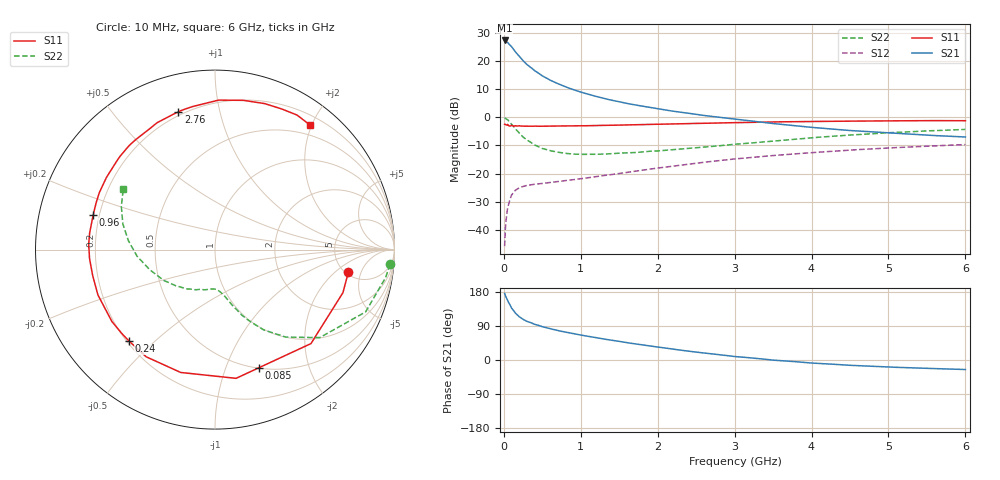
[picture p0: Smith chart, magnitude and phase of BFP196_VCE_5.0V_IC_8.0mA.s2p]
! Infineon Technologies  Discrete & RF Semiconductors
! BFP196
! VCE = 5.0 V,  IC = 8.0mA
! Common Emitter S-Parameters:  Jan 2016
# GHz  S  MA  R  50
!  f  S11  S21  S12  S22
! GHz  MAG  ANG  MAG  ANG  MAG  ANG  MAG  ANG
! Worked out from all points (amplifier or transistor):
!   210 points, 10 MHz to 6 GHz, reference 50 ohm
!   highest |S21| = 27.4 dB at 10 MHz (marker M1)
!   |S21| within 3 dB of that: start of sweep to 121.3 MHz
!   unconditionally stable (mu >= 1): 962.5 MHz to 3.358 GHz
!   at 185 MHz: K = 0.26, MSG = 23.8 dB, |S12| = -25.3 dB
!   at 1.52 GHz: K = 1.15, MAG = 10.3 dB, |S12| = -19.9 dB
!   at 6 GHz: K = 0.98, MSG = 1.3 dB, |S12| = -9.7 dB
!   S11 on the Smith chart (normalised r, x): 10 MHz: 5.31, -3.06; 85 MHz: 0.50, -1.31; 240 MHz: 0.21, -0.42; 960 MHz: 0.18, +0.13; 2.76 GHz: 0.18, +0.75; 6 GHz: 0.34, +1.97
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0.01  0.7537 -9.5  23.43 175.8  0.0051 87.6  0.9786 -4.8
0.02  0.7521 -18.6  22.84 169.7  0.0104 82.3  0.9634 -9.3
0.05  0.7484 -44.4  21.59 156.0  0.0247 68.9  0.908 -22.5
0.085  0.7024 -69.8  18.97 143.5  0.0362 56.4  0.7978 -34.1
0.1  0.7268 -80.7  18.18 137.1  0.0414 53.2  0.7625 -40.0
0.15  0.7107 -105.6  14.7 123.4  0.0505 43.6  0.6269 -51.0
0.2  0.7097 -122.7  12.24 114.1  0.0557 37.6  0.5241 -58.7
0.24  0.6992 -133.1  10.59 108.7  0.0583 34.8  0.4621 -62.7
0.3  0.7004 -145.1  8.751 102.0  0.0616 32.0  0.3974 -67.5
0.4  0.6995 -158.8  6.81 94.2  0.0645 29.9  0.3234 -72.8
0.5  0.6967 -167.9  5.494 87.9  0.0667 29.8  0.2798 -76.5
0.6  0.7008 -175.9  4.617 82.6  0.0694 30.6  0.2558 -79.5
0.7  0.7043 177.6  3.993 77.6  0.0718 31.4  0.2403 -82.2
0.96  0.7052 164.3  2.942 67.4  0.0797 34.9  0.2208 -89.4
1.02  0.7077 161.5  2.771 65.1  0.0817 35.6  0.2198 -91.0
1.4  0.7263 146.4  2.021 52.2  0.0958 39.1  0.2268 -101.1
2.02  0.7554 125.8  1.407 33.7  0.1264 41.5  0.2542 -119.9
2.76  0.7945 104.9  1.022 14.9  0.1679 38.6  0.3089 -142.0
3.1  0.8095 97.0  0.899 7.6  0.1874 35.5  0.3402 -151.8
4.1  0.8477 77.6  0.648 -9.1  0.2407 25.5  0.4442 -177.5
5.1  0.8687 63.4  0.52 -19.3  0.2899 14.1  0.5403 162.4
6  0.8728 52.8  0.448 -25.1  0.3285 3.1  0.6115 146.7
